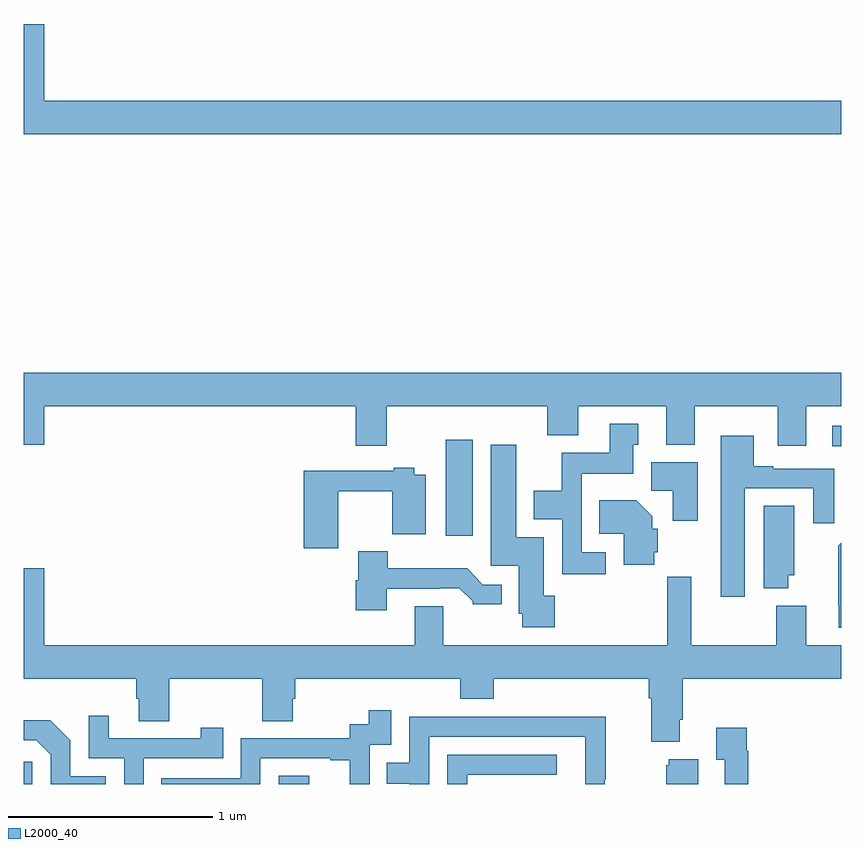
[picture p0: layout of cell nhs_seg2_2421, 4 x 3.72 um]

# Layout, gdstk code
import gdstk
lib = gdstk.Library(unit=1e-6, precision=1e-09)
def R(c, l, rs):  # rectangles x0, y0, x1, y1
    for r in rs: c.add(gdstk.rectangle(r[:2], r[2:], *l))
def P(c, l, *ps):  # polygons
    for p in ps: c.add(gdstk.Polygon(p, *l))
L2000_40 = (2000, 40)

nhs_seg2_2421 = lib.new_cell('nhs_seg2_2421')
R(nhs_seg2_2421, L2000_40, [(237,633.8,237.042,633.91), (238.248,633.8,238.396,633.841), (239.066,635.016,239.197,635.485), (240.957,635.453,241,635.554)])
P(nhs_seg2_2421, L2000_40, [(241,637.144),(237.1,637.144),(237.1,637.519),(237,637.519),(237,636.98),(241,636.98)],
  [(238.777,635.648),(239.561,635.648),(239.561,635.507),(239.713,635.507),(239.713,635.648),(240.143,635.648),(240.143,635.459),(240.283,635.459),(240.283,635.648),(240.689,635.648),(240.689,635.454),(240.829,635.454),(240.829,635.648),(241,635.648),(241,635.812),(237,635.812),(237,635.46),(237.1,635.46),(237.1,635.648),(238.625,635.648),(238.625,635.454),(238.777,635.454)],
  [(239.848,634.935),(239.73,634.935),(239.73,635.318),(239.983,635.318),(239.983,635.46),(240.007,635.46),(240.007,635.563),(239.867,635.563),(239.867,635.422),(239.632,635.422),(239.632,635.236),(239.495,635.236),(239.495,635.096),(239.634,635.096),(239.634,634.827),(239.848,634.827)],
  [(240.529,635.247),(240.863,635.247),(240.863,635.076),(240.967,635.076),(240.967,635.343),(240.667,635.343),(240.667,635.356),(240.571,635.356),(240.571,635.503),(240.41,635.503),(240.41,634.716),(240.529,634.716)],
  [(239.597,634.722),(239.545,634.722),(239.545,635.008),(239.41,635.008),(239.41,635.461),(239.285,635.461),(239.285,634.869),(239.423,634.869),(239.423,634.632),(239.44,634.632),(239.44,634.566),(239.597,634.566)],
  [(240.298,635.374),(240.071,635.374),(240.071,635.236),(240.176,635.236),(240.176,635.088),(240.298,635.088)],
  [(238.54,635.233),(238.804,635.233),(238.804,635.021),(238.966,635.021),(238.966,635.314),(238.911,635.314),(238.911,635.347),(238.811,635.347),(238.811,635.334),(238.37,635.334),(238.37,634.953),(238.54,634.953)],
  [(240.084,634.935),(240.102,634.935),(240.102,635.049),(240.076,635.049),(240.076,635.11),(239.998,635.188),(239.815,635.188),(239.815,635.024),(239.936,635.024),(239.936,634.874),(240.084,634.874)],
  [(240.742,634.821),(240.769,634.821),(240.769,635.162),(240.62,635.162),(240.62,634.757),(240.742,634.757)],
  [(241,634.981),(240.985,634.966),(240.985,634.675),(240.989,634.675),(240.989,634.565),(241,634.565)],
  [(238.777,634.755),(239.033,634.755),(239.033,634.758),(239.132,634.758),(239.196,634.694),(239.196,634.679),(239.338,634.679),(239.338,634.776),(239.247,634.776),(239.169,634.855),(238.78,634.855),(238.78,634.939),(238.637,634.939),(238.637,634.797),(238.625,634.797),(238.625,634.65),(238.777,634.65)],
  [(240.211,634.114),(240.224,634.114),(240.224,634.316),(241,634.316),(241,634.48),(240.829,634.48),(240.829,634.672),(240.682,634.672),(240.682,634.48),(240.265,634.48),(240.265,634.813),(240.148,634.813),(240.148,634.48),(239.053,634.48),(239.053,634.67),(238.913,634.67),(238.913,634.48),(237.1,634.48),(237.1,634.855),(237,634.855),(237,634.316),(237.551,634.316),(237.551,634.218),(237.563,634.218),(237.563,634.108),(237.711,634.108),(237.711,634.316),(238.168,634.316),(238.168,634.108),(238.315,634.108),(238.315,634.218),(238.328,634.218),(238.328,634.316),(239.135,634.316),(239.135,634.217),(239.3,634.217),(239.3,634.316),(240.059,634.316),(240.059,634.22),(240.071,634.22),(240.071,634.007),(240.211,634.007)],
  [(238.158,633.927),(238.499,633.927),(238.499,633.915),(238.595,633.915),(238.595,633.8),(238.692,633.8),(238.692,633.993),(238.797,633.993),(238.797,634.162),(238.689,634.162),(238.689,634.092),(238.596,634.092),(238.596,634.023),(238.062,634.023),(238.062,633.828),(237.673,633.828),(237.673,633.8),(238.158,633.8)],
  [(237.588,633.927),(237.977,633.927),(237.977,634.075),(237.866,634.075),(237.866,634.023),(237.415,634.023),(237.415,634.135),(237.318,634.135),(237.318,633.927),(237.492,633.927),(237.492,633.8),(237.588,633.8)],
  [(238.983,634.032),(239.747,634.032),(239.747,633.808),(239.748,633.808),(239.748,633.8),(239.844,633.8),(239.844,633.823),(239.847,633.823),(239.847,634.13),(239.383,634.13),(239.383,634.128),(238.887,634.128),(238.887,633.903),(238.777,633.903),(238.777,633.802),(238.887,633.802),(238.887,633.8),(238.983,633.8)],
  [(237.402,633.837),(237.228,633.837),(237.228,634.014),(237.13,634.112),(237,634.112),(237,634.014),(237.06,634.014),(237.132,633.942),(237.132,633.8),(237.402,633.8)],
  [(240.545,633.962),(240.538,633.962),(240.538,634.075),(240.389,634.075),(240.389,633.919),(240.429,633.919),(240.429,633.8),(240.545,633.8)],
  [(239.169,633.846),(239.608,633.846),(239.608,633.942),(239.073,633.942),(239.073,633.8),(239.169,633.8)],
  [(240.301,633.922),(240.155,633.922),(240.155,633.891),(240.143,633.891),(240.143,633.8),(240.301,633.8)])

lib.write_gds('nhs_seg2_2421.gds')
